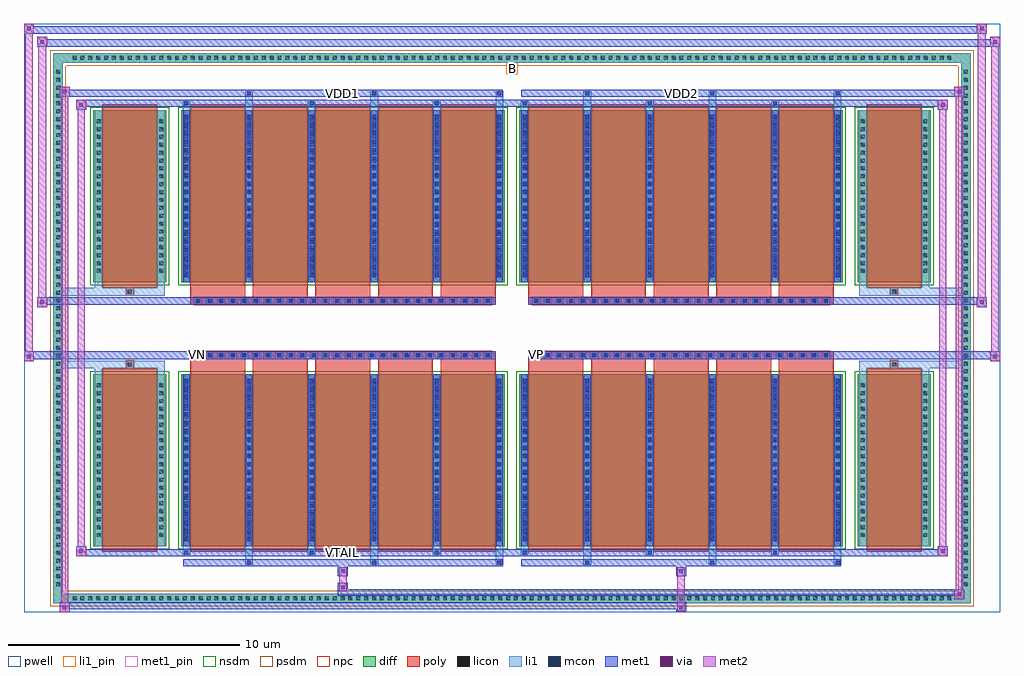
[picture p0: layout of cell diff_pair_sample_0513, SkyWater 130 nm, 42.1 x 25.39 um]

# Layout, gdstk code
import gdstk
lib = gdstk.Library(unit=1e-6, precision=5e-09)
def R(c, l, rs):  # rectangles x0, y0, x1, y1
    for r in rs: c.add(gdstk.rectangle(r[:2], r[2:], *l))
def A(c, l, x, y, w, h, nx, ny, dx, dy):  # array of equal rectangles
    R(c, l, [(x+i*dx, y+j*dy, x+i*dx+w, y+j*dy+h) for i in range(nx) for j in range(ny)])
def P(c, l, *ps):  # polygons
    for p in ps: c.add(gdstk.Polygon(p, *l))
pwell = (64, 44)
diff = (65, 20)
poly = (66, 20)
licon = (66, 44)
li1_pin = (67, 16)
li1 = (67, 20)
mcon = (67, 44)
met1_pin = (68, 16)
met1 = (68, 20)
via = (68, 44)
met2 = (69, 20)
nsdm = (93, 44)
psdm = (94, 20)
npc = (95, 20)

diff_pair_sample_0513 = lib.new_cell('diff_pair_sample_0513')
R(diff_pair_sample_0513, pwell, [(-21.05,-12.26,21.05,13.13), (-18.37,-10.45,-0.01,-0.805), (0.01,-10.45,18.37,-0.805), (-18.37,0.805,-0.01,10.45), (0.01,0.805,18.37,10.45)])
A(diff_pair_sample_0513, diff, -19.075, -11.86, 0.41, 0.41, 112, 2, 0.34, 23.31)
A(diff_pair_sample_0513, diff, -19.78, -11.255, 0.41, 0.41, 1, 66, 0, 0.34)
A(diff_pair_sample_0513, diff, 19.37, -11.255, 0.41, 0.41, 1, 66, 0, 0.34)
R(diff_pair_sample_0513, diff, [(-19.075,-11.86,19.075,-11.45), (-19.78,-11.255,-19.37,11.255), (19.37,-11.255,19.78,11.255), (-18.06,-9.405,-14.91,-1.985), (-14.27,-9.405,-0.32,-1.985), (0.32,-9.405,14.27,-1.985), (14.91,-9.405,18.06,-1.985), (-18.06,1.985,-14.91,9.405), (-14.27,1.985,-0.32,9.405), (0.32,1.985,14.27,9.405), (14.91,1.985,18.06,9.405), (-19.075,11.45,19.075,11.86)])
P(diff_pair_sample_0513, diff, [(19.78,11.86),(-19.78,11.86),(-19.78,-11.45),(-19.37,-11.45),(-19.37,11.45),(19.37,11.45),(19.37,-11.45),(-19.37,-11.45),(-19.78,-11.45),(-19.78,-11.86),(19.78,-11.86)])
A(diff_pair_sample_0513, poly, -13.88, -9.655, 2.37, 7.92, 5, 2, 2.7, 11.39)
A(diff_pair_sample_0513, poly, 0.71, -9.655, 2.37, 7.92, 5, 2, 2.7, 11.39)
A(diff_pair_sample_0513, poly, -13.88, -1.735, 2.37, 0.4, 5, 2, 2.7, 3.07)
A(diff_pair_sample_0513, poly, 0.71, -1.735, 2.37, 0.4, 5, 2, 2.7, 3.07)
A(diff_pair_sample_0513, poly, -13.71, -1.335, 0.33, 0.33, 26, 2, 0.5, 2.34)
A(diff_pair_sample_0513, poly, 0.88, -1.335, 0.33, 0.33, 26, 2, 0.5, 2.34)
R(diff_pair_sample_0513, poly, [(-17.67,-9.655,-15.3,-1.735), (15.3,-9.655,17.67,-1.735), (-16.65,-1.735,-16.32,-1.405), (-16.65,-1.735,-16.32,-1.405), (16.32,-1.735,16.65,-1.405), (16.32,-1.735,16.65,-1.405), (-13.88,-1.335,-0.71,-1.005), (0.71,-1.335,13.88,-1.005), (-13.88,1.005,-0.71,1.335), (0.71,1.005,13.88,1.335), (-16.65,1.405,-16.32,1.735), (-16.65,1.405,-16.32,1.735), (16.32,1.405,16.65,1.735), (16.32,1.405,16.65,1.735), (-17.67,1.735,-15.3,9.655), (15.3,1.735,17.67,9.655)])
A(diff_pair_sample_0513, licon, -18.955, -11.74, 0.17, 0.17, 112, 2, 0.34, 23.31)
A(diff_pair_sample_0513, licon, -19.66, -11.135, 0.17, 0.17, 1, 66, 0, 0.34)
A(diff_pair_sample_0513, licon, 19.49, -11.135, 0.17, 0.17, 1, 66, 0, 0.34)
A(diff_pair_sample_0513, licon, -17.92, -9.01, 0.17, 0.17, 1, 20, 0, 0.34)
A(diff_pair_sample_0513, licon, -15.22, -9.01, 0.17, 0.17, 1, 20, 0, 0.34)
A(diff_pair_sample_0513, licon, -14.13, -9.01, 0.17, 0.17, 6, 20, 2.7, 0.34)
A(diff_pair_sample_0513, licon, 0.46, -9.01, 0.17, 0.17, 6, 20, 2.7, 0.34)
A(diff_pair_sample_0513, licon, 15.05, -9.01, 0.17, 0.17, 1, 20, 0, 0.34)
A(diff_pair_sample_0513, licon, 17.75, -9.01, 0.17, 0.17, 1, 20, 0, 0.34)
A(diff_pair_sample_0513, licon, -13.63, -1.255, 0.17, 0.17, 26, 2, 0.5, 2.34)
A(diff_pair_sample_0513, licon, 0.96, -1.255, 0.17, 0.17, 26, 2, 0.5, 2.34)
A(diff_pair_sample_0513, licon, -17.92, 2.38, 0.17, 0.17, 1, 20, 0, 0.34)
A(diff_pair_sample_0513, licon, -15.22, 2.38, 0.17, 0.17, 1, 20, 0, 0.34)
A(diff_pair_sample_0513, licon, -14.13, 2.38, 0.17, 0.17, 6, 20, 2.7, 0.34)
A(diff_pair_sample_0513, licon, 0.46, 2.38, 0.17, 0.17, 6, 20, 2.7, 0.34)
A(diff_pair_sample_0513, licon, 15.05, 2.38, 0.17, 0.17, 1, 20, 0, 0.34)
A(diff_pair_sample_0513, licon, 17.75, 2.38, 0.17, 0.17, 1, 20, 0, 0.34)
R(diff_pair_sample_0513, licon, [(-16.57,-1.655,-16.4,-1.485), (16.4,-1.655,16.57,-1.485), (-16.57,1.485,-16.4,1.655), (16.4,1.485,16.57,1.655)])
R(diff_pair_sample_0513, li1_pin, [(-0.25,10.95,0.25,11.45)])
A(diff_pair_sample_0513, li1, -19.035, -11.82, 0.33, 0.33, 112, 2, 0.34, 23.31)
A(diff_pair_sample_0513, li1, -19.74, -11.215, 0.33, 0.33, 1, 66, 0, 0.34)
A(diff_pair_sample_0513, li1, 19.41, -11.215, 0.33, 0.33, 1, 66, 0, 0.34)
A(diff_pair_sample_0513, li1, -11.51, -10.21, 0.33, 0.805, 3, 2, 5.4, 19.615)
A(diff_pair_sample_0513, li1, -11.43, -10.21, 0.17, 0.17, 3, 2, 5.4, 20.25)
A(diff_pair_sample_0513, li1, 3.08, -10.21, 0.33, 0.805, 3, 2, 5.4, 19.615)
A(diff_pair_sample_0513, li1, 3.16, -10.21, 0.17, 0.17, 3, 2, 5.4, 20.25)
A(diff_pair_sample_0513, li1, -14.21, -9.78, 0.33, 0.375, 3, 2, 5.4, 19.185)
A(diff_pair_sample_0513, li1, -14.13, -9.78, 0.17, 0.17, 3, 2, 5.4, 19.39)
A(diff_pair_sample_0513, li1, 0.38, -9.78, 0.33, 0.375, 3, 2, 5.4, 19.185)
A(diff_pair_sample_0513, li1, 0.46, -9.78, 0.17, 0.17, 3, 2, 5.4, 19.39)
A(diff_pair_sample_0513, li1, -14.21, -9.405, 0.33, 7.42, 6, 2, 2.7, 11.39)
A(diff_pair_sample_0513, li1, 0.38, -9.405, 0.33, 7.42, 6, 2, 2.7, 11.39)
A(diff_pair_sample_0513, li1, -14.13, -9.2, 0.17, 0.17, 6, 20, 2.7, 0.36)
A(diff_pair_sample_0513, li1, -14.13, -9.2, 0.17, 7.01, 6, 2, 2.7, 11.39)
A(diff_pair_sample_0513, li1, 0.46, -9.2, 0.17, 0.17, 6, 20, 2.7, 0.36)
A(diff_pair_sample_0513, li1, 0.46, -9.2, 0.17, 7.01, 6, 2, 2.7, 11.39)
A(diff_pair_sample_0513, li1, -18, -9.09, 0.33, 0.33, 1, 20, 0, 0.34)
A(diff_pair_sample_0513, li1, -15.3, -9.09, 0.33, 0.33, 1, 20, 0, 0.34)
A(diff_pair_sample_0513, li1, -14.21, -9.09, 0.33, 0.33, 6, 20, 2.7, 0.34)
A(diff_pair_sample_0513, li1, 0.38, -9.09, 0.33, 0.33, 6, 20, 2.7, 0.34)
A(diff_pair_sample_0513, li1, 14.97, -9.09, 0.33, 0.33, 1, 20, 0, 0.34)
A(diff_pair_sample_0513, li1, 17.67, -9.09, 0.33, 0.33, 1, 20, 0, 0.34)
A(diff_pair_sample_0513, li1, -13.71, -1.335, 0.33, 0.33, 26, 2, 0.5, 2.34)
A(diff_pair_sample_0513, li1, 0.88, -1.335, 0.33, 0.33, 26, 2, 0.5, 2.34)
A(diff_pair_sample_0513, li1, -14.13, 2.19, 0.17, 0.17, 6, 20, 2.7, 0.36)
A(diff_pair_sample_0513, li1, 0.46, 2.19, 0.17, 0.17, 6, 20, 2.7, 0.36)
A(diff_pair_sample_0513, li1, -18, 2.3, 0.33, 0.33, 1, 20, 0, 0.34)
A(diff_pair_sample_0513, li1, -15.3, 2.3, 0.33, 0.33, 1, 20, 0, 0.34)
A(diff_pair_sample_0513, li1, -14.21, 2.3, 0.33, 0.33, 6, 20, 2.7, 0.34)
A(diff_pair_sample_0513, li1, 0.38, 2.3, 0.33, 0.33, 6, 20, 2.7, 0.34)
A(diff_pair_sample_0513, li1, 14.97, 2.3, 0.33, 0.33, 1, 20, 0, 0.34)
A(diff_pair_sample_0513, li1, 17.67, 2.3, 0.33, 0.33, 1, 20, 0, 0.34)
R(diff_pair_sample_0513, li1, [(-19.78,-11.86,-19.37,-11.45), (-19.78,-11.86,-19.37,-11.45), (-19.37,-11.86,19.37,-11.45), (19.37,-11.86,19.78,-11.45), (19.37,-11.86,19.78,-11.45), (-19.78,-11.45,-19.37,11.45), (19.37,-11.45,19.78,11.45), (-18,-9.405,-17.67,-1.985), (-15.3,-9.405,-14.97,-1.985), (14.97,-9.405,15.3,-1.985), (17.67,-9.405,18,-1.985), (-18,-1.985,-17.67,-1.405), (-15.3,-1.985,-14.97,-1.405), (14.97,-1.985,15.3,-1.405), (17.67,-1.985,18,-1.405), (-19.78,-1.735,-16.65,-1.405), (-18,-1.735,-16.65,-1.405), (-16.65,-1.735,-16.32,-1.405), (-16.32,-1.735,-14.97,-1.405), (14.97,-1.735,16.32,-1.405), (16.32,-1.735,16.65,-1.405), (16.32,-1.735,19.78,-1.405), (16.65,-1.735,18,-1.405), (-19.78,1.405,-16.65,1.735), (-18,1.405,-16.65,1.735), (-18,1.405,-17.67,1.985), (-16.65,1.405,-16.32,1.735), (-16.32,1.405,-14.97,1.735), (-15.3,1.405,-14.97,1.985), (14.97,1.405,16.32,1.735), (14.97,1.405,15.3,1.985), (16.32,1.405,16.65,1.735), (16.32,1.405,19.78,1.735), (16.65,1.405,18,1.735), (17.67,1.405,18,1.985), (-18,1.985,-17.67,9.405), (-15.3,1.985,-14.97,9.405), (14.97,1.985,15.3,9.405), (17.67,1.985,18,9.405), (-19.78,11.45,-19.37,11.86), (-19.78,11.45,-19.37,11.86), (-19.37,11.45,19.37,11.86), (19.37,11.45,19.78,11.86), (19.37,11.45,19.78,11.86)])
A(diff_pair_sample_0513, mcon, -11.43, -10.21, 0.17, 0.17, 3, 2, 5.4, 20.25)
A(diff_pair_sample_0513, mcon, 3.16, -10.21, 0.17, 0.17, 3, 2, 5.4, 20.25)
A(diff_pair_sample_0513, mcon, -14.13, -9.78, 0.17, 0.17, 3, 2, 5.4, 19.39)
A(diff_pair_sample_0513, mcon, 0.46, -9.78, 0.17, 0.17, 3, 2, 5.4, 19.39)
A(diff_pair_sample_0513, mcon, -14.13, -9.2, 0.17, 0.17, 6, 20, 2.7, 0.36)
A(diff_pair_sample_0513, mcon, 0.46, -9.2, 0.17, 0.17, 6, 20, 2.7, 0.36)
A(diff_pair_sample_0513, mcon, -13.63, -1.255, 0.17, 0.17, 26, 2, 0.5, 2.34)
A(diff_pair_sample_0513, mcon, 0.96, -1.255, 0.17, 0.17, 26, 2, 0.5, 2.34)
A(diff_pair_sample_0513, mcon, -14.13, 2.19, 0.17, 0.17, 6, 20, 2.7, 0.36)
A(diff_pair_sample_0513, mcon, 0.46, 2.19, 0.17, 0.17, 6, 20, 2.7, 0.36)
R(diff_pair_sample_0513, met1_pin, [(-7.43,-9.82,-7.16,-9.55), (-13.68,-1.295,-13.41,-1.025), (0.91,-1.295,1.18,-1.025), (-7.43,10,-7.16,10.27), (7.16,10,7.43,10.27)])
A(diff_pair_sample_0513, met1, -11.49, -10.27, 0.29, 0.29, 3, 2, 5.4, 20.25)
A(diff_pair_sample_0513, met1, 3.1, -10.27, 0.29, 0.29, 3, 2, 5.4, 20.25)
A(diff_pair_sample_0513, met1, -14.19, -9.84, 0.29, 0.29, 3, 2, 5.4, 19.39)
A(diff_pair_sample_0513, met1, 0.4, -9.84, 0.29, 0.29, 3, 2, 5.4, 19.39)
A(diff_pair_sample_0513, met1, -14.19, -9.405, 0.29, 7.42, 6, 2, 2.7, 11.39)
A(diff_pair_sample_0513, met1, 0.4, -9.405, 0.29, 7.42, 6, 2, 2.7, 11.39)
A(diff_pair_sample_0513, met1, -14.19, -9.26, 0.29, 0.29, 6, 20, 2.7, 0.36)
A(diff_pair_sample_0513, met1, 0.4, -9.26, 0.29, 0.29, 6, 20, 2.7, 0.36)
A(diff_pair_sample_0513, met1, -13.69, -1.315, 0.29, 0.29, 26, 2, 0.5, 2.34)
A(diff_pair_sample_0513, met1, 0.9, -1.315, 0.29, 0.29, 26, 2, 0.5, 2.34)
A(diff_pair_sample_0513, met1, -14.19, 2.13, 0.29, 0.29, 6, 20, 2.7, 0.36)
A(diff_pair_sample_0513, met1, 0.4, 2.13, 0.29, 0.29, 6, 20, 2.7, 0.36)
R(diff_pair_sample_0513, met1, [(-19.51,-12.26,-19.08,-11.83), (7.08,-12.26,7.51,-11.83), (-19.51,-12.12,7.51,-11.83), (19.08,-11.69,19.51,-11.26), (-7.51,-11.55,19.51,-11.26), (-7.51,-11.41,-7.08,-10.98), (-7.51,-10.7,-7.08,-10.27), (7.08,-10.7,7.51,-10.27), (-14.19,-10.27,-0.4,-9.98), (0.4,-10.27,14.19,-9.98), (-18.8,-9.84,-18.37,-9.41), (-18.8,-9.84,-14.19,-9.55), (-14.19,-9.84,-0.4,-9.55), (-0.4,-9.84,0.4,-9.55), (0.4,-9.84,14.19,-9.55), (14.19,-9.84,18.8,-9.55), (18.37,-9.84,18.8,-9.41), (-21.05,-1.435,-20.62,-1.005), (20.62,-1.435,21.05,-1.005), (-21.05,-1.335,-0.71,-1.005), (-13.88,-1.335,-0.71,-1.005), (0.71,-1.335,13.88,-1.005), (0.71,-1.335,21.05,-1.005), (-20.48,0.905,-20.05,1.335), (20.05,0.905,20.48,1.335), (-20.48,1.005,-13.88,1.335), (-13.88,1.005,-0.71,1.335), (0.71,1.005,13.88,1.335), (13.88,1.005,20.48,1.335), (-18.8,9.41,-18.37,9.84), (18.37,9.41,18.8,9.84), (-18.8,9.55,-14.19,9.84), (-14.19,9.55,-0.4,9.84), (-0.4,9.55,0.4,9.84), (0.4,9.55,14.19,9.84), (14.19,9.55,18.8,9.84), (-19.51,9.98,-19.08,10.41), (-19.51,9.98,-14.19,10.27), (-14.19,9.98,-0.4,10.27), (0.4,9.98,14.19,10.27), (14.19,9.98,19.51,10.27), (19.08,9.98,19.51,10.41), (-20.48,12.13,-20.05,12.56), (-20.48,12.13,-18.37,12.46), (-18.37,12.13,18.37,12.46), (18.37,12.13,21.05,12.46), (20.62,12.13,21.05,12.56), (-21.05,12.7,-20.62,13.13), (-21.05,12.7,-18.37,13.03), (-18.37,12.7,18.37,13.03), (18.37,12.7,20.48,13.03), (20.05,12.7,20.48,13.13)])
R(diff_pair_sample_0513, via, [(-19.37,-12.12,-19.22,-11.97), (7.22,-12.12,7.37,-11.97), (19.22,-11.55,19.37,-11.4), (-7.37,-11.27,-7.22,-11.12), (-7.37,-10.56,-7.22,-10.41), (7.22,-10.56,7.37,-10.41), (-18.66,-9.7,-18.51,-9.55), (18.51,-9.7,18.66,-9.55), (-20.91,-1.295,-20.76,-1.145), (20.76,-1.295,20.91,-1.145), (-20.34,1.045,-20.19,1.195), (20.19,1.045,20.34,1.195), (-18.66,9.55,-18.51,9.7), (18.51,9.55,18.66,9.7), (-19.37,10.12,-19.22,10.27), (19.22,10.12,19.37,10.27), (-20.34,12.27,-20.19,12.42), (20.76,12.27,20.91,12.42), (-20.91,12.84,-20.76,12.99), (20.19,12.84,20.34,12.99)])
R(diff_pair_sample_0513, met2, [(-19.51,-12.26,-19.08,-11.83), (-19.44,-12.26,-19.15,10.41), (-19.15,-12.26,-19.08,-11.83), (-19.46,-12.21,-19.13,-11.88), (7.13,-12.21,7.46,-11.88), (7.13,-11.88,7.46,-10.65), (19.08,-11.69,19.51,-11.26), (19.15,-11.69,19.44,10.41), (19.44,-11.69,19.51,-11.26), (19.13,-11.64,19.46,-11.31), (-7.46,-11.36,-7.13,-11.03), (-7.46,-11.03,-7.13,-10.65), (-7.46,-10.65,-7.13,-10.32), (7.13,-10.65,7.46,-10.32), (-18.8,-9.84,-18.37,-9.41), (-18.73,-9.84,-18.44,9.84), (-18.44,-9.84,-18.37,-9.41), (18.37,-9.84,18.8,-9.41), (18.44,-9.84,18.73,9.84), (18.73,-9.84,18.8,-9.41), (-18.75,-9.79,-18.42,-9.46), (18.42,-9.79,18.75,-9.46), (-21.05,-1.435,-20.62,-1.005), (-21,-1.435,-20.67,13.13), (-20.67,-1.435,-20.62,-1.005), (20.62,-1.435,21.05,-1.005), (20.67,-1.435,21,12.56), (21,-1.435,21.05,-1.005), (-21,-1.385,-20.67,-1.055), (20.67,-1.385,21,-1.055), (-20.48,0.905,-20.05,1.335), (-20.43,0.905,-20.1,12.56), (-20.1,0.905,-20.05,1.335), (20.05,0.905,20.48,1.335), (20.1,0.905,20.43,13.13), (20.43,0.905,20.48,1.335), (-20.43,0.955,-20.1,1.285), (20.1,0.955,20.43,1.285), (-18.8,9.41,-18.37,9.84), (-18.44,9.41,-18.37,9.84), (18.37,9.41,18.8,9.84), (18.73,9.41,18.8,9.84), (-18.75,9.46,-18.42,9.79), (18.42,9.46,18.75,9.79), (-19.51,9.98,-19.08,10.41), (-19.15,9.98,-19.08,10.41), (19.08,9.98,19.51,10.41), (19.44,9.98,19.51,10.41), (-19.46,10.03,-19.13,10.36), (19.13,10.03,19.46,10.36), (-20.48,12.13,-20.05,12.56), (-20.1,12.13,-20.05,12.56), (20.62,12.13,21.05,12.56), (21,12.13,21.05,12.56), (-20.43,12.18,-20.1,12.51), (20.67,12.18,21,12.51), (-21.05,12.7,-20.62,13.13), (-20.67,12.7,-20.62,13.13), (20.05,12.7,20.48,13.13), (20.43,12.7,20.48,13.13), (-21,12.75,-20.67,13.08), (20.1,12.75,20.43,13.08)])
R(diff_pair_sample_0513, nsdm, [(-18.19,-9.535,-14.78,-1.855), (-14.4,-9.535,-0.19,-1.855), (0.19,-9.535,14.4,-1.855), (14.78,-9.535,18.19,-1.855), (-18.19,1.855,-14.78,9.535), (-14.4,1.855,-0.19,9.535), (0.19,1.855,14.4,9.535), (14.78,1.855,18.19,9.535)])
P(diff_pair_sample_0513, psdm, [(19.91,11.99),(-19.91,11.99),(-19.91,-11.32),(-19.24,-11.32),(-19.24,11.32),(19.24,11.32),(19.24,-11.32),(-19.24,-11.32),(-19.91,-11.32),(-19.91,-11.99),(19.91,-11.99)])
A(diff_pair_sample_0513, npc, -13.73, -1.355, 0.37, 0.37, 26, 2, 0.5, 2.34)
A(diff_pair_sample_0513, npc, 0.86, -1.355, 0.37, 0.37, 26, 2, 0.5, 2.34)
R(diff_pair_sample_0513, npc, [(-16.67,-1.755,-16.3,-1.385), (16.3,-1.755,16.67,-1.385), (-13.73,-1.355,-12.86,-0.985), (-13.73,-1.355,-12.86,-0.985), (-13.23,-1.355,-12.36,-0.985), (-13.23,-1.355,-12.36,-0.985), (-12.73,-1.355,-11.86,-0.985), (-12.73,-1.355,-11.86,-0.985), (-12.23,-1.355,-11.36,-0.985), (-12.23,-1.355,-11.36,-0.985), (-11.73,-1.355,-10.86,-0.985), (-11.73,-1.355,-10.86,-0.985), (-11.23,-1.355,-10.36,-0.985), (-11.23,-1.355,-10.36,-0.985), (-10.73,-1.355,-9.86,-0.985), (-10.73,-1.355,-9.86,-0.985), (-10.23,-1.355,-9.36,-0.985), (-10.23,-1.355,-9.36,-0.985), (-9.73,-1.355,-8.86,-0.985), (-9.73,-1.355,-8.86,-0.985), (-9.23,-1.355,-8.36,-0.985), (-9.23,-1.355,-8.36,-0.985), (-8.73,-1.355,-7.86,-0.985), (-8.73,-1.355,-7.86,-0.985), (-8.23,-1.355,-7.36,-0.985), (-8.23,-1.355,-7.36,-0.985), (-7.73,-1.355,-6.86,-0.985), (-7.73,-1.355,-6.86,-0.985), (-7.23,-1.355,-6.36,-0.985), (-7.23,-1.355,-6.36,-0.985), (-6.73,-1.355,-5.86,-0.985), (-6.73,-1.355,-5.86,-0.985), (-6.23,-1.355,-5.36,-0.985), (-6.23,-1.355,-5.36,-0.985), (-5.73,-1.355,-4.86,-0.985), (-5.73,-1.355,-4.86,-0.985), (-5.23,-1.355,-4.36,-0.985), (-5.23,-1.355,-4.36,-0.985), (-4.73,-1.355,-3.86,-0.985), (-4.73,-1.355,-3.86,-0.985), (-4.23,-1.355,-3.36,-0.985), (-4.23,-1.355,-3.36,-0.985), (-3.73,-1.355,-2.86,-0.985), (-3.73,-1.355,-2.86,-0.985), (-3.23,-1.355,-2.36,-0.985), (-3.23,-1.355,-2.36,-0.985), (-2.73,-1.355,-1.86,-0.985), (-2.73,-1.355,-1.86,-0.985), (-2.23,-1.355,-1.36,-0.985), (-2.23,-1.355,-1.36,-0.985), (-1.73,-1.355,-0.86,-0.985), (-1.73,-1.355,-0.86,-0.985), (0.86,-1.355,1.73,-0.985), (0.86,-1.355,1.73,-0.985), (1.36,-1.355,2.23,-0.985), (1.36,-1.355,2.23,-0.985), (1.86,-1.355,2.73,-0.985), (1.86,-1.355,2.73,-0.985), (2.36,-1.355,3.23,-0.985), (2.36,-1.355,3.23,-0.985), (2.86,-1.355,3.73,-0.985), (2.86,-1.355,3.73,-0.985), (3.36,-1.355,4.23,-0.985), (3.36,-1.355,4.23,-0.985), (3.86,-1.355,4.73,-0.985), (3.86,-1.355,4.73,-0.985), (4.36,-1.355,5.23,-0.985), (4.36,-1.355,5.23,-0.985), (4.86,-1.355,5.73,-0.985), (4.86,-1.355,5.73,-0.985), (5.36,-1.355,6.23,-0.985), (5.36,-1.355,6.23,-0.985), (5.86,-1.355,6.73,-0.985), (5.86,-1.355,6.73,-0.985), (6.36,-1.355,7.23,-0.985), (6.36,-1.355,7.23,-0.985), (6.86,-1.355,7.73,-0.985), (6.86,-1.355,7.73,-0.985), (7.36,-1.355,8.23,-0.985), (7.36,-1.355,8.23,-0.985), (7.86,-1.355,8.73,-0.985), (7.86,-1.355,8.73,-0.985), (8.36,-1.355,9.23,-0.985), (8.36,-1.355,9.23,-0.985), (8.86,-1.355,9.73,-0.985), (8.86,-1.355,9.73,-0.985), (9.36,-1.355,10.23,-0.985), (9.36,-1.355,10.23,-0.985), (9.86,-1.355,10.73,-0.985), (9.86,-1.355,10.73,-0.985), (10.36,-1.355,11.23,-0.985), (10.36,-1.355,11.23,-0.985), (10.86,-1.355,11.73,-0.985), (10.86,-1.355,11.73,-0.985), (11.36,-1.355,12.23,-0.985), (11.36,-1.355,12.23,-0.985), (11.86,-1.355,12.73,-0.985), (11.86,-1.355,12.73,-0.985), (12.36,-1.355,13.23,-0.985), (12.36,-1.355,13.23,-0.985), (12.86,-1.355,13.73,-0.985), (12.86,-1.355,13.73,-0.985), (-13.73,0.985,-12.86,1.355), (-13.73,0.985,-12.86,1.355), (-13.23,0.985,-12.36,1.355), (-13.23,0.985,-12.36,1.355), (-12.73,0.985,-11.86,1.355), (-12.73,0.985,-11.86,1.355), (-12.23,0.985,-11.36,1.355), (-12.23,0.985,-11.36,1.355), (-11.73,0.985,-10.86,1.355), (-11.73,0.985,-10.86,1.355), (-11.23,0.985,-10.36,1.355), (-11.23,0.985,-10.36,1.355), (-10.73,0.985,-9.86,1.355), (-10.73,0.985,-9.86,1.355), (-10.23,0.985,-9.36,1.355), (-10.23,0.985,-9.36,1.355), (-9.73,0.985,-8.86,1.355), (-9.73,0.985,-8.86,1.355), (-9.23,0.985,-8.36,1.355), (-9.23,0.985,-8.36,1.355), (-8.73,0.985,-7.86,1.355), (-8.73,0.985,-7.86,1.355), (-8.23,0.985,-7.36,1.355), (-8.23,0.985,-7.36,1.355), (-7.73,0.985,-6.86,1.355), (-7.73,0.985,-6.86,1.355), (-7.23,0.985,-6.36,1.355), (-7.23,0.985,-6.36,1.355), (-6.73,0.985,-5.86,1.355), (-6.73,0.985,-5.86,1.355), (-6.23,0.985,-5.36,1.355), (-6.23,0.985,-5.36,1.355), (-5.73,0.985,-4.86,1.355), (-5.73,0.985,-4.86,1.355), (-5.23,0.985,-4.36,1.355), (-5.23,0.985,-4.36,1.355), (-4.73,0.985,-3.86,1.355), (-4.73,0.985,-3.86,1.355), (-4.23,0.985,-3.36,1.355), (-4.23,0.985,-3.36,1.355), (-3.73,0.985,-2.86,1.355), (-3.73,0.985,-2.86,1.355), (-3.23,0.985,-2.36,1.355), (-3.23,0.985,-2.36,1.355), (-2.73,0.985,-1.86,1.355), (-2.73,0.985,-1.86,1.355), (-2.23,0.985,-1.36,1.355), (-2.23,0.985,-1.36,1.355), (-1.73,0.985,-0.86,1.355), (-1.73,0.985,-0.86,1.355), (0.86,0.985,1.73,1.355), (0.86,0.985,1.73,1.355), (1.36,0.985,2.23,1.355), (1.36,0.985,2.23,1.355), (1.86,0.985,2.73,1.355), (1.86,0.985,2.73,1.355), (2.36,0.985,3.23,1.355), (2.36,0.985,3.23,1.355), (2.86,0.985,3.73,1.355), (2.86,0.985,3.73,1.355), (3.36,0.985,4.23,1.355), (3.36,0.985,4.23,1.355), (3.86,0.985,4.73,1.355), (3.86,0.985,4.73,1.355), (4.36,0.985,5.23,1.355), (4.36,0.985,5.23,1.355), (4.86,0.985,5.73,1.355), (4.86,0.985,5.73,1.355), (5.36,0.985,6.23,1.355), (5.36,0.985,6.23,1.355), (5.86,0.985,6.73,1.355), (5.86,0.985,6.73,1.355), (6.36,0.985,7.23,1.355), (6.36,0.985,7.23,1.355), (6.86,0.985,7.73,1.355), (6.86,0.985,7.73,1.355), (7.36,0.985,8.23,1.355), (7.36,0.985,8.23,1.355), (7.86,0.985,8.73,1.355), (7.86,0.985,8.73,1.355), (8.36,0.985,9.23,1.355), (8.36,0.985,9.23,1.355), (8.86,0.985,9.73,1.355), (8.86,0.985,9.73,1.355), (9.36,0.985,10.23,1.355), (9.36,0.985,10.23,1.355), (9.86,0.985,10.73,1.355), (9.86,0.985,10.73,1.355), (10.36,0.985,11.23,1.355), (10.36,0.985,11.23,1.355), (10.86,0.985,11.73,1.355), (10.86,0.985,11.73,1.355), (11.36,0.985,12.23,1.355), (11.36,0.985,12.23,1.355), (11.86,0.985,12.73,1.355), (11.86,0.985,12.73,1.355), (12.36,0.985,13.23,1.355), (12.36,0.985,13.23,1.355), (12.86,0.985,13.73,1.355), (12.86,0.985,13.73,1.355), (-16.67,1.385,-16.3,1.755), (16.3,1.385,16.67,1.755)])
diff_pair_sample_0513.add(gdstk.Label('VTAIL', (-7.295,-9.685), layer=68, texttype=5))
diff_pair_sample_0513.add(gdstk.Label('VN', (-13.545,-1.16), layer=68, texttype=5))
diff_pair_sample_0513.add(gdstk.Label('VP', (1.045,-1.16), layer=68, texttype=5))
diff_pair_sample_0513.add(gdstk.Label('B', (0,11.2), layer=67, texttype=5))
diff_pair_sample_0513.add(gdstk.Label('VDD2', (7.295,10.135), layer=68, texttype=5))
diff_pair_sample_0513.add(gdstk.Label('VDD1', (-7.295,10.135), layer=68, texttype=5))

lib.write_gds('diff_pair_sample_0513.gds')
